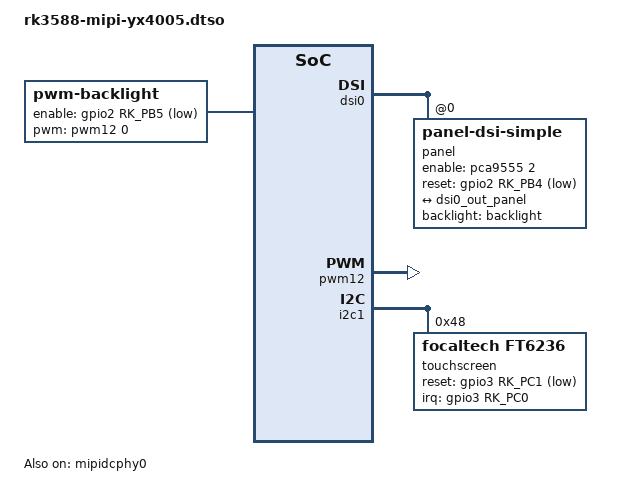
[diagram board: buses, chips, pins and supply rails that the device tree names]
/dts-v1/;
/plugin/;

#include <dt-bindings/gpio/gpio.h>
#include <dt-bindings/interrupt-controller/irq.h>
#include <dt-bindings/pinctrl/rockchip.h>
#include <dt-bindings/soc/rockchip,vop2.h>
#include <dt-bindings/display/drm_mipi_dsi.h>

/ {
	compatible = "firefly,icore-3588q";
};

&{/} {
	backlight: backlight {
		compatible = "pwm-backlight";
        enable-gpios = <&gpio2 RK_PB5 GPIO_ACTIVE_LOW>;
		pwms = <&pwm12 0 25000 1>;
		brightness-levels = <0 8 16 32 64 128 160 200 255>;
		default-brightness-level = <8>;
	};
};

&dsi0 {
	#address-cells = <1>;
	#size-cells = <0>;
	status = "okay";

	panel@0 {
		status = "okay";
		compatible = "panel-dsi-simple";
		reg = <0>;
		backlight = <&backlight>;

		enable-gpios = <&pca9555 2 GPIO_ACTIVE_HIGH>;
		reset-gpios = <&gpio2 RK_PB4 GPIO_ACTIVE_LOW>;

		enable-delay-ms = <50>;
		prepare-delay-ms = <200>;
		reset-delay-ms = <50>;
		init-delay-ms = <55>;
		unprepare-delay-ms = <50>;
		disable-delay-ms = <20>;
		dsi,flags = <(MIPI_DSI_MODE_VIDEO | MIPI_DSI_MODE_VIDEO_BURST | MIPI_DSI_MODE_LPM | MIPI_DSI_MODE_EOT_PACKET)>;
		dsi,format = <MIPI_DSI_FMT_RGB888>;
		dsi,lanes  = <4>;

		panel-init-sequence = [
			39 00 04 B9 F1 12 83
      		39 00 1C BA 33 81 05 F9 0E 0E 20 00 00 00 00 00 00 00 44 25 00 91 0A 00 00 02 4F D1 00 00 37
			39 00 05 B8 25 22 20 03
			39 00 04 BF 02 11 00
			39 00 0B B3 10 10 0A 50 03 FF 00 00 00 00
			39 00 0A C0 73 73 50 50 00 00 08 70 00
			15 00 02 BC 46
			15 00 02 CC 0B
			15 00 02 B4 80
			39 00 04 B2 3C 12 30
			39 00 0F E3 07 07 0B 0B 03 0B 00 00 00 00 FF 00 40 10
			39 00 0D C1 65 00 32 32 77 F1 CC CC 77 77 33 33
			39 00 03 B5 0A 0A
			39 00 03 B6 B7 B7
			39 00 40 E9 88 10 0A 10 0F A1 80 12 31 23 47 86 A1 80 47 08 04 44 00 00 00 00 04 44 00 00 00 00 75 31 88 88 88 1F 88 38 FF 58 88 64 20 88 88 88 0F 88 28 FF 48 88 00 00 00 00 00 00 00 00 00 00 00 00 00
			39 00 3E EA 00 1A 00 00 00 00 02 00 00 00 00 00 02 46 88 88 88 28 8F 08 FF 48 88 13 57 88 88 88 38 8F 18 FF 58 88 23 00 00 01 02 00 00 00 00 00 00 00 00 00 00 00 00 00 00 00 40 A1 80 00 00 00 00
			39 00 23 E0 00 03 06 2D 3E 3F 34 32 08 0C 0D 10 12 11 12 10 15 00 03 06 2D 3E 3F 34 32 08 0C 0D 10 12 11 12 10 15
			05 FF 01 11
			05 32 01 29
		];

		panel-exit-sequence = [
			05 00 01 28
			05 00 01 10
		];

		display-timings {
			native-mode = <&dsi0_timing0>;
			dsi0_timing0: timing0 {
				clock-frequency = <36750000>; // (720+4+26+40)*(720+6+20+30)*59.95
				hactive = <720>;
				vactive = <720>;
				hsync-len = <4>;
				hback-porch = <26>;
				hfront-porch = <40>;
				vsync-len = <6>;
				vback-porch = <20>;
				vfront-porch = <30>;
				hsync-active = <0>;
				vsync-active = <0>;
				de-active = <0>;
				pixelclk-active = <0>;
			};
		};

		port {
			mipi_panel_in: endpoint {
				remote-endpoint = <&dsi0_out_panel>;
			};
		};
	};
};

&dsi0_in {
	dsi0_in_vp3: endpoint {
		remote-endpoint = <&vp3_out_dsi0>;
	};
};

&dsi0_out {
	dsi0_out_panel: endpoint {
		remote-endpoint = <&mipi_panel_in>;
	};
};

&mipidcphy0 {
	status = "okay";
};

&pwm12 {
	pinctrl-0 = <&pwm12m1_pins>;
	status = "okay";
};

&vp3 {
	#address-cells = <1>;
	#size-cells = <0>;

	vp3_out_dsi0: endpoint@ROCKCHIP_VOP2_EP_MIPI0 {
		reg = <ROCKCHIP_VOP2_EP_MIPI0>;
		remote-endpoint = <&dsi0_in_vp3>;
	};
};

&i2c1{
	status = "okay";
	pinctrl-names = "default";
	pinctrl-0 = <&i2c1m2_xfer>;

	touchscreen@48 {
		compatible = "focaltech,ft6236";
		reg = <0x48>;
		interrupt-parent = <&gpio3>;
		interrupts = <RK_PC0 IRQ_TYPE_LEVEL_LOW>;
		reset-gpios = <&gpio3 RK_PC1 GPIO_ACTIVE_LOW>;
		touchscreen-size-x = <720>;
		touchscreen-size-y = <720>;
		wakeup-source;
	};
};
